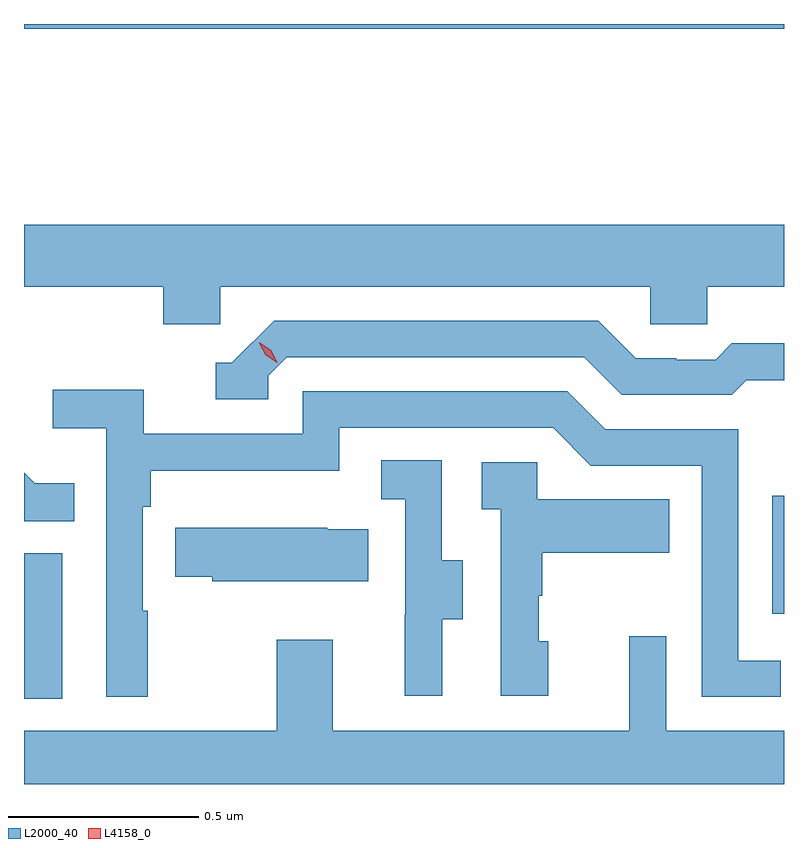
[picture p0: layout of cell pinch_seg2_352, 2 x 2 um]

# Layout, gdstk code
import gdstk
lib = gdstk.Library(unit=1e-6, precision=1e-09)
def R(c, l, rs):  # rectangles x0, y0, x1, y1
    for r in rs: c.add(gdstk.rectangle(r[:2], r[2:], *l))
def P(c, l, *ps):  # polygons
    for p in ps: c.add(gdstk.Polygon(p, *l))
L2000_40 = (2000, 40)
L4158_0 = (4158, 0)

pinch_seg2_352 = lib.new_cell('pinch_seg2_352')
R(pinch_seg2_352, L2000_40, [(1009.205,630.569,1009.306,630.951), (1011.174,630.792,1011.205,631.102), (1009.205,632.332,1011.205,632.344)])
P(pinch_seg2_352, L2000_40, [(1009.722,631.652),(1010.853,631.652),(1010.853,631.554),(1011.003,631.554),(1011.003,631.652),(1011.205,631.652),(1011.205,631.816),(1009.205,631.816),(1009.205,631.652),(1009.571,631.652),(1009.571,631.554),(1009.722,631.554)],
  [(1009.848,631.419),(1009.896,631.467),(1010.679,631.467),(1010.778,631.368),(1011.067,631.368),(1011.106,631.407),(1011.205,631.407),(1011.205,631.504),(1011.067,631.504),(1011.025,631.461),(1010.922,631.461),(1010.922,631.464),(1010.815,631.464),(1010.716,631.563),(1009.863,631.563),(1009.752,631.452),(1009.709,631.452),(1009.709,631.356),(1009.848,631.356)],
  [(1009.531,630.8),(1009.518,630.8),(1009.518,631.073),(1009.538,631.073),(1009.538,631.169),(1010.034,631.169),(1010.034,631.281),(1010.598,631.281),(1010.697,631.182),(1010.988,631.182),(1010.988,630.573),(1011.197,630.573),(1011.197,630.669),(1011.084,630.669),(1011.084,631.278),(1010.734,631.278),(1010.635,631.377),(1009.938,631.377),(1009.938,631.266),(1009.52,631.266),(1009.52,631.382),(1009.281,631.382),(1009.281,631.28),(1009.422,631.28),(1009.422,630.573),(1009.531,630.573)],
  [(1010.305,630.778),(1010.359,630.778),(1010.359,630.933),(1010.304,630.933),(1010.304,631.196),(1010.145,631.196),(1010.145,631.093),(1010.208,631.093),(1010.208,630.789),(1010.207,630.789),(1010.207,630.576),(1010.305,630.576)],
  [(1010.584,630.72),(1010.559,630.72),(1010.559,630.839),(1010.569,630.839),(1010.569,630.953),(1010.903,630.953),(1010.903,631.093),(1010.556,631.093),(1010.556,631.191),(1010.409,631.191),(1010.409,631.067),(1010.46,631.067),(1010.46,630.576),(1010.584,630.576)],
  [(1009.337,631.135),(1009.233,631.135),(1009.205,631.163),(1009.205,631.036),(1009.337,631.036)],
  [(1010.111,631.015),(1010.003,631.015),(1010.003,631.018),(1009.603,631.018),(1009.603,630.889),(1009.701,630.889),(1009.701,630.878),(1010.111,630.878)],
  [(1011.205,630.484),(1010.895,630.484),(1010.895,630.733),(1010.798,630.733),(1010.798,630.484),(1010.017,630.484),(1010.017,630.724),(1009.87,630.724),(1009.87,630.484),(1009.205,630.484),(1009.205,630.344),(1011.205,630.344)])
P(pinch_seg2_352, L4158_0, [(1009.871,631.453),(1009.841,631.472),(1009.824,631.504),(1009.824,631.505),(1009.825,631.505),(1009.855,631.485),(1009.872,631.453),(1009.872,631.453)])

lib.write_gds('pinch_seg2_352.gds')
